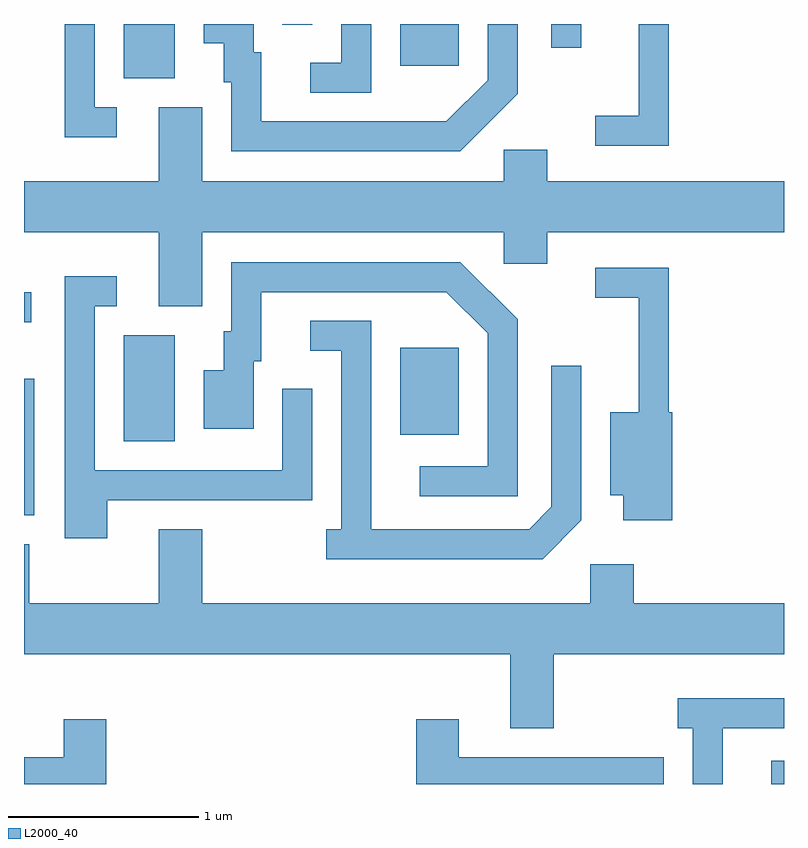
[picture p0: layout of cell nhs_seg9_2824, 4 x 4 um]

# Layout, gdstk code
import gdstk
lib = gdstk.Library(unit=1e-6, precision=1e-09)
def R(c, l, rs):  # rectangles x0, y0, x1, y1
    for r in rs: c.add(gdstk.rectangle(r[:2], r[2:], *l))
def P(c, l, *ps):  # polygons
    for p in ps: c.add(gdstk.Polygon(p, *l))
L2000_40 = (2000, 40)

nhs_seg9_2824 = lib.new_cell('nhs_seg9_2824')
R(nhs_seg9_2824, L2000_40, [(271.543,2024.432,271.611,2024.554), (267.611,2025.846,267.664,2026.564), (268.136,2026.236,268.404,2026.794), (269.591,2026.271,269.899,2026.729), (267.611,2026.861,267.648,2027.019), (268.136,2028.146,268.404,2028.432), (269.591,2028.211,269.899,2028.432), (270.386,2028.308,270.544,2028.432), (268.971,2028.428,269.129,2028.432)])
P(nhs_seg9_2824, L2000_40, [(270.209,2028.064),(270.209,2028.432),(270.051,2028.432),(270.051,2028.137),(269.834,2027.919),(268.859,2027.919),(268.859,2028.284),(268.819,2028.284),(268.819,2028.432),(268.556,2028.432),(268.556,2028.331),(268.661,2028.331),(268.661,2028.126),(268.701,2028.126),(268.701,2027.761),(269.907,2027.761)],
  [(268.098,2027.994),(267.984,2027.994),(267.984,2028.432),(267.826,2028.432),(267.826,2027.836),(268.098,2027.836)],
  [(271.004,2028.432),(270.846,2028.432),(270.846,2027.949),(270.618,2027.949),(270.618,2027.791),(271.004,2027.791)],
  [(269.439,2028.432),(269.281,2028.432),(269.281,2028.229),(269.118,2028.229),(269.118,2028.071),(269.439,2028.071)],
  [(268.549,2027.336),(270.136,2027.336),(270.136,2027.171),(270.364,2027.171),(270.364,2027.336),(271.611,2027.336),(271.611,2027.604),(270.364,2027.604),(270.364,2027.769),(270.136,2027.769),(270.136,2027.604),(268.549,2027.604),(268.549,2027.994),(268.321,2027.994),(268.321,2027.604),(267.611,2027.604),(267.611,2027.336),(268.321,2027.336),(268.321,2026.946),(268.549,2026.946)],
  [(270.209,2026.877),(269.907,2027.179),(268.701,2027.179),(268.701,2026.814),(268.661,2026.814),(268.661,2026.609),(268.556,2026.609),(268.556,2026.301),(268.819,2026.301),(268.819,2026.656),(268.859,2026.656),(268.859,2027.021),(269.834,2027.021),(270.051,2026.804),(270.051,2026.104),(269.693,2026.104),(269.693,2025.946),(270.209,2025.946)],
  [(271.024,2026.389),(271.004,2026.389),(271.004,2027.149),(270.618,2027.149),(270.618,2026.991),(270.846,2026.991),(270.846,2026.389),(270.696,2026.389),(270.696,2025.951),(270.766,2025.951),(270.766,2025.821),(271.024,2025.821)],
  [(268.049,2025.926),(269.129,2025.926),(269.129,2026.513),(268.971,2026.513),(268.971,2026.084),(267.984,2026.084),(267.984,2026.946),(268.098,2026.946),(268.098,2027.104),(267.826,2027.104),(267.826,2025.726),(268.049,2025.726)],
  [(270.544,2025.819),(270.544,2026.633),(270.386,2026.633),(270.386,2025.892),(270.269,2025.774),(269.439,2025.774),(269.439,2026.869),(269.118,2026.869),(269.118,2026.711),(269.281,2026.711),(269.281,2025.774),(269.203,2025.774),(269.203,2025.616),(270.342,2025.616)],
  [(270.399,2025.116),(271.611,2025.116),(271.611,2025.384),(270.819,2025.384),(270.819,2025.589),(270.591,2025.589),(270.591,2025.384),(268.549,2025.384),(268.549,2025.774),(268.321,2025.774),(268.321,2025.384),(267.639,2025.384),(267.639,2025.694),(267.611,2025.694),(267.611,2025.116),(270.171,2025.116),(270.171,2024.726),(270.399,2024.726)],
  [(271.289,2024.726),(271.611,2024.726),(271.611,2024.884),(271.053,2024.884),(271.053,2024.726),(271.131,2024.726),(271.131,2024.432),(271.289,2024.432)],
  [(270.979,2024.574),(269.899,2024.574),(269.899,2024.774),(269.676,2024.774),(269.676,2024.432),(270.979,2024.432)],
  [(268.044,2024.774),(267.821,2024.774),(267.821,2024.574),(267.611,2024.574),(267.611,2024.432),(268.044,2024.432)])

lib.write_gds('nhs_seg9_2824.gds')
